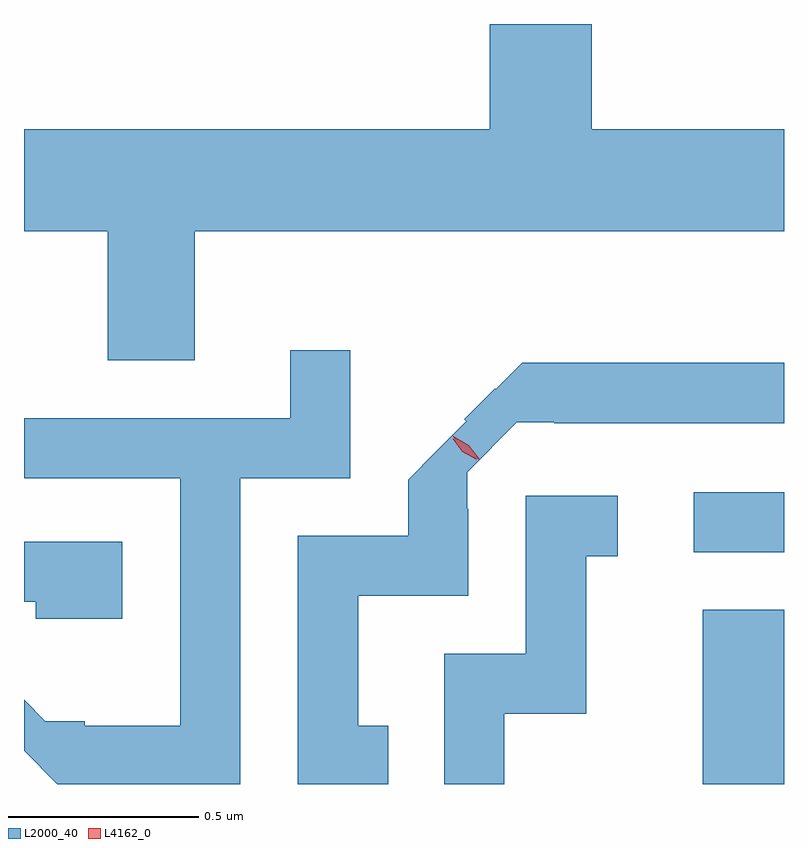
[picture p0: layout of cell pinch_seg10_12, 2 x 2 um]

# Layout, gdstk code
import gdstk
lib = gdstk.Library(unit=1e-6, precision=1e-09)
def R(c, l, rs):  # rectangles x0, y0, x1, y1
    for r in rs: c.add(gdstk.rectangle(r[:2], r[2:], *l))
def P(c, l, *ps):  # polygons
    for p in ps: c.add(gdstk.Polygon(p, *l))
L2000_40 = (2000, 40)
L4162_0 = (4162, 0)

pinch_seg10_12 = lib.new_cell('pinch_seg10_12')
R(pinch_seg10_12, L2000_40, [(835.016,2196.821,835.23,2197.279), (834.993,2197.431,835.23,2197.589)])
P(pinch_seg10_12, L2000_40, [(833.679,2198.276),(835.23,2198.276),(835.23,2198.544),(834.724,2198.544),(834.724,2198.821),(834.456,2198.821),(834.456,2198.544),(833.23,2198.544),(833.23,2198.276),(833.451,2198.276),(833.451,2197.936),(833.679,2197.936)],
  [(833.799,2197.626),(834.089,2197.626),(834.089,2197.963),(833.931,2197.963),(833.931,2197.784),(833.23,2197.784),(833.23,2197.626),(833.641,2197.626),(833.641,2196.974),(833.39,2196.974),(833.39,2196.986),(833.286,2196.986),(833.23,2197.043),(833.23,2196.908),(833.317,2196.821),(833.799,2196.821)],
  [(834.188,2196.974),(834.109,2196.974),(834.109,2197.316),(834.399,2197.316),(834.399,2197.545),(834.396,2197.545),(834.396,2197.642),(834.527,2197.773),(834.625,2197.773),(834.625,2197.771),(835.23,2197.771),(835.23,2197.929),(834.541,2197.929),(834.472,2197.86),(834.47,2197.862),(834.389,2197.781),(834.394,2197.776),(834.313,2197.696),(834.314,2197.695),(834.241,2197.622),(834.241,2197.474),(833.951,2197.474),(833.951,2196.821),(834.188,2196.821)],
  [(834.494,2197.006),(834.709,2197.006),(834.709,2197.421),(834.793,2197.421),(834.793,2197.579),(834.551,2197.579),(834.551,2197.164),(834.336,2197.164),(834.336,2196.821),(834.494,2196.821)],
  [(833.489,2197.459),(833.23,2197.459),(833.23,2197.301),(833.261,2197.301),(833.261,2197.256),(833.489,2197.256)])
P(pinch_seg10_12, L4162_0, [(834.429,2197.674),(834.387,2197.698),(834.358,2197.737),(834.358,2197.738),(834.358,2197.738),(834.4,2197.713),(834.429,2197.675),(834.429,2197.674)],
  [(834.421,2197.674),(834.383,2197.695),(834.358,2197.73),(834.358,2197.73),(834.359,2197.73),(834.397,2197.709),(834.422,2197.674),(834.422,2197.674)])

lib.write_gds('pinch_seg10_12.gds')
